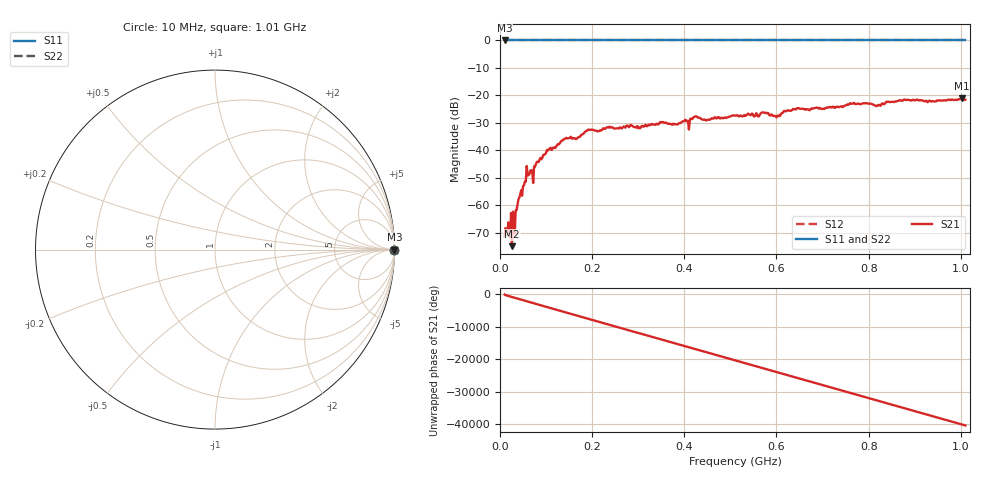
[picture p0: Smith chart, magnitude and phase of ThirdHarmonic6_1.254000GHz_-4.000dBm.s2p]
! 8/16/2025 1:25:33 PM
! C:\ANRITSUVNA\TEMP\TEMP.S2P
! CHANNEL.1
! TR.MEASUREMENT
! RAW.DATA
! RF.CORRECTION.OFF
! AVERAGING.OFF
! IF.BANDWIDTH: 5KHZ
! SWEEPTYPE:  FREQ.SWEEP(Linear)
! Reference Plane Port Info
! PORT:  PORT1  PORT2
! DISTANCE:  0  m  0  m
! TIME:  0  s  0  s
! PHASE.OFFSET:  0  deg.  0  deg.
! LOSS:  0  dB  0  dB
! REF.LOSS:  0  dB  0  dB
! REF.FREQ:  0  Hz  0  Hz
! Power Info
! POWER:  -20  dBm  -20  dBm
! EFF.POWER:  -20  dBm  -20  dBm
! SOURCE.ATTEN:  0  dB  0  dB
! TEST.ATTEN:  0  dB  0  dB
# GHZ S RI R 50.0
! FREQ.GHZ  S11RE  S11IM  S21RE  S21IM  S12RE  S12IM  S22RE  S22IM
!; PortSelection: Port_12
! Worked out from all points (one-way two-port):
!   501 points, 10 MHz to 1.01 GHz, reference 50 ohm
!   highest |S21| = -21.08 dB at 1.002 GHz (marker M1); lowest = -74.9 dB at 26 MHz (marker M2)
!   lowest |S11| = 0.0 dB at 10 MHz (marker M3)
!   |S11| at or under -10 dB: nowhere
!   |S22| runs from 0.0 to 0.0 dB; largest |S21 - S12| = 1.1
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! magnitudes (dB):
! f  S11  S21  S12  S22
! 10 MHz  0.0  -71.4  0.0  0.0
! 20 MHz  0.0  -70.5  0.0  0.0
! 22 MHz  0.0  -71.7  0.0  0.0
! 26 MHz  0.0  -74.9  0.0  0.0
! 30 MHz  0.0  -63.5  0.0  0.0
! 42 MHz  0.0  -57.2  0.0  0.0
! 62 MHz  0.0  -49.0  0.0  0.0
! 68 MHz  0.0  -47.2  0.0  0.0
! 78 MHz  0.0  -45.0  0.0  0.0
! 106 MHz  0.0  -39.8  0.0  0.0
! 140 MHz  0.0  -35.8  0.0  0.0
! 178 MHz  0.0  -34.2  0.0  0.0
! 194 MHz  0.0  -32.5  0.0  0.0
! 344 MHz  0.0  -30.5  0.0  0.0
! 510 MHz  0.0  -27.4  0.0  0.0
! 572 MHz  0.0  -26.2  0.0  0.0
! 602 MHz  0.0  -27.5  0.0  0.0
! 620 MHz  0.0  -25.8  0.0  0.0
! 678 MHz  0.0  -24.9  0.0  0.0
! 844 MHz  0.0  -22.3  0.0  0.0
! 1.002 GHz  0.0  -21.1  0.0  0.0
! 1.01 GHz  0.0  -21.6  0.0  0.0
